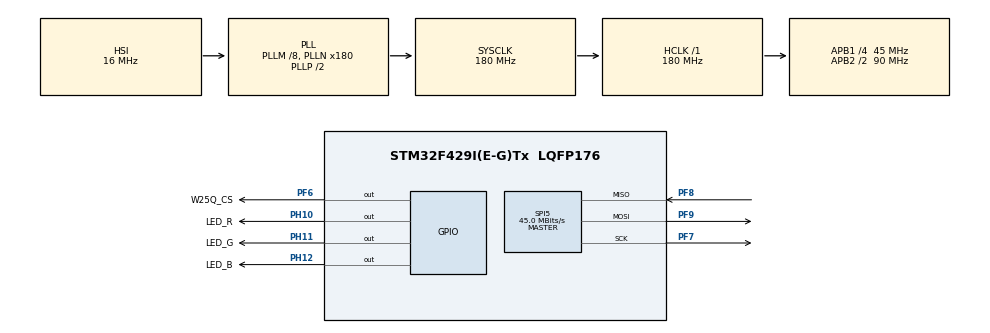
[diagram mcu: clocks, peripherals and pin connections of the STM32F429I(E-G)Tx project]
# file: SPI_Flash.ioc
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Mcu.Family=STM32F4
RCC.CortexFreq_Value=180000000
PH12.Signal=GPIO_Output
PH10.Signal=GPIO_Output
PH11.Signal=GPIO_Output
PH12.GPIO_Label=LED_B
PH12.GPIO_Speed=GPIO_SPEED_FREQ_MEDIUM
PH10.PinState=GPIO_PIN_SET
PC14/OSC32_IN.Mode=LSE-External-Oscillator
RCC.APB1CLKDivider=RCC_HCLK_DIV4
SPI5.Mode=SPI_MODE_MASTER
PF6.GPIO_Label=W25Q_CS
RCC.SYSCLKSource=RCC_SYSCLKSOURCE_PLLCLK
ProjectManager.StackSize=0x400
PA13.Signal=SYS_JTMS-SWDIO
PF7.Mode=Full_Duplex_Master
PH11.GPIO_Speed=GPIO_SPEED_FREQ_MEDIUM
PF6.Signal=GPIO_Output
PF6.PinState=GPIO_PIN_SET
ProjectManager.TargetToolchain=STM32CubeIDE
PF7.Signal=SPI5_SCK
PH0/OSC_IN.Mode=HSE-External-Oscillator
RCC.HCLKFreq_Value=180000000
PH11.PinState=GPIO_PIN_SET
RCC.APB2TimFreq_Value=180000000
PH11.GPIO_Label=LED_G
PH1/OSC_OUT.Signal=RCC_OSC_OUT
RCC.AHBFreq_Value=180000000
PH10.GPIO_Label=LED_R
RCC.HSE_VALUE=25000000
board=custom
RCC.VCOOutputFreq_Value=360000000
PH0/OSC_IN.Signal=RCC_OSC_IN
RCC.APB2Freq_Value=90000000
PF9.Mode=Full_Duplex_Master
PF8.GPIO_PuPd=GPIO_PULLUP
PA14.Mode=Serial_Wire
PF8.Mode=Full_Duplex_Master
PA13.Mode=Serial_Wire
PH1/OSC_OUT.Mode=HSE-External-Oscillator
Mcu.Name=STM32F429I(E-G)Tx
RCC.48MHZClocksFreq_Value=90000000
RCC.SYSCLKFreq_VALUE=180000000
Mcu.Package=LQFP176
PH10.GPIO_Speed=GPIO_SPEED_FREQ_MEDIUM
SPI5.BaudRatePrescaler=SPI_BAUDRATEPRESCALER_2
PC14/OSC32_IN.Signal=RCC_OSC32_IN
PC15/OSC32_OUT.Mode=LSE-External-Oscillator
PH12.PinState=GPIO_PIN_SET
PA14.Signal=SYS_JTCK-SWCLK
ProjectManager.HeapSize=0x200
PF8.Signal=SPI5_MISO
PF9.Signal=SPI5_MOSI
RCC.HSI_VALUE=16000000
SPI5.CalculateBaudRate=45.0 MBits/s
NVIC.PriorityGroup=NVIC_PRIORITYGROUP_4
RCC.APB2CLKDivider=RCC_HCLK_DIV2
RCC.PLLM=8
RCC.PLLN=180
RCC.APB1TimFreq_Value=90000000
PC15/OSC32_OUT.Signal=RCC_OSC32_OUT
PF9.GPIO_PuPd=GPIO_PULLUP
RCC.APB1Freq_Value=45000000
SPI5.VirtualType=VM_MASTER
SPI5.Direction=SPI_DIRECTION_2LINES
PF6.GPIO_Speed=GPIO_SPEED_FREQ_VERY_HIGH

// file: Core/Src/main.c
/* USER CODE BEGIN Header */
/**
  ******************************************************************************
  * @file           : main.c
  * @brief          : Main program body
  ******************************************************************************
  * @attention
  *
  * <h2><center>&copy; Copyright (c) 2021 STMicroelectronics.
  * All rights reserved.</center></h2>
  *
  * This software component is licensed by ST under BSD 3-Clause license,
  * the "License"; You may not use this file except in compliance with the
  * License. You may obtain a copy of the License at:
  *                        opensource.org/licenses/BSD-3-Clause
  *
  ******************************************************************************
  */
/* USER CODE END Header */
#include "main.h"
#include "spi.h"
#include "gpio.h"

/* USER CODE BEGIN Includes */
#include "w25q.h"
/* USER CODE END Includes */

/* USER CODE BEGIN PV */
uint8_t wBuffer[256],rBuffer[256];
uint8_t Status;
uint8_t temp[5];
/* USER CODE END PV */

void SystemClock_Config(void);

int main(void)
{

  /* MCU Configuration--------------------------------------------------------*/

  /* Reset of all peripherals, Initializes the Flash interface and the Systick. */
  HAL_Init();

  /* Configure the system clock */
  SystemClock_Config();

  /* Initialize all configured peripherals */
  MX_GPIO_Init();
  MX_SPI5_Init();
  /* USER CODE BEGIN 2 */
  W25qxx_Init();
  for(uint16_t _i=0;_i<256;_i++)
  {
	  wBuffer[_i]=_i;
  }
  W25qxx_ReadPage(rBuffer, 0, 0, 256);
  W25qxx_EraseBlock(0);
  W25qxx_ReadPage(rBuffer, 0, 0, 256);
  W25qxx_WritePage(wBuffer, 0, 0, 256);
  W25qxx_WritePage(wBuffer, 2, 0, 256);
  W25qxx_WritePage(wBuffer, 4, 0, 256);
  W25qxx_ReadPage(rBuffer, 0, 0, 256);
  W25qxx_ReadPage(rBuffer, 1, 0, 256);
  W25qxx_ReadPage(rBuffer, 2, 0, 256);
  W25qxx_ReadPage(rBuffer, 3, 0, 256);
  W25qxx_ReadPage(rBuffer, 4, 0, 256);
  W25qxx_EraseSector(0);
  W25qxx_EraseSector(2);
  W25qxx_EraseSector(4);
  W25qxx_ReadPage(rBuffer, 0, 0, 256);
  W25qxx_ReadPage(rBuffer, 2, 0, 256);
  W25qxx_ReadPage(rBuffer, 4, 0, 256);
  W25qxx_WritePage(wBuffer, 0, 0, 256);
  /* USER CODE END 2 */

  /* Infinite loop */
  while (1)
  {

  }
}

void SystemClock_Config(void)
{
  RCC_OscInitTypeDef RCC_OscInitStruct = {0};
  RCC_ClkInitTypeDef RCC_ClkInitStruct = {0};

  /** Configure the main internal regulator output voltage
  */
  __HAL_RCC_PWR_CLK_ENABLE();
  __HAL_PWR_VOLTAGESCALING_CONFIG(PWR_REGULATOR_VOLTAGE_SCALE1);
  /** Initializes the RCC Oscillators according to the specified parameters
  * in the RCC_OscInitTypeDef structure.
  */
  RCC_OscInitStruct.OscillatorType = RCC_OSCILLATORTYPE_HSI;
  RCC_OscInitStruct.HSIState = RCC_HSI_ON;
  RCC_OscInitStruct.HSICalibrationValue = RCC_HSICALIBRATION_DEFAULT;
  RCC_OscInitStruct.PLL.PLLState = RCC_PLL_ON;
  RCC_OscInitStruct.PLL.PLLSource = RCC_PLLSOURCE_HSI;
  RCC_OscInitStruct.PLL.PLLM = 8;
  RCC_OscInitStruct.PLL.PLLN = 180;
  RCC_OscInitStruct.PLL.PLLP = RCC_PLLP_DIV2;
  RCC_OscInitStruct.PLL.PLLQ = 4;
  if (HAL_RCC_OscConfig(&RCC_OscInitStruct) != HAL_OK)
  {
    Error_Handler();
  }
  /** Activate the Over-Drive mode
  */
  if (HAL_PWREx_EnableOverDrive() != HAL_OK)
  {
    Error_Handler();
  }
  /** Initializes the CPU, AHB and APB buses clocks
  */
  RCC_ClkInitStruct.ClockType = RCC_CLOCKTYPE_HCLK|RCC_CLOCKTYPE_SYSCLK
                              |RCC_CLOCKTYPE_PCLK1|RCC_CLOCKTYPE_PCLK2;
  RCC_ClkInitStruct.SYSCLKSource = RCC_SYSCLKSOURCE_PLLCLK;
  RCC_ClkInitStruct.AHBCLKDivider = RCC_SYSCLK_DIV1;
  RCC_ClkInitStruct.APB1CLKDivider = RCC_HCLK_DIV4;
  RCC_ClkInitStruct.APB2CLKDivider = RCC_HCLK_DIV2;

  if (HAL_RCC_ClockConfig(&RCC_ClkInitStruct, FLASH_LATENCY_5) != HAL_OK)
  {
    Error_Handler();
  }
}

void Error_Handler(void)
{
  __disable_irq();
  while (1)
  {
  }
}

/************************ (C) COPYRIGHT STMicroelectronics *****END OF FILE****/
